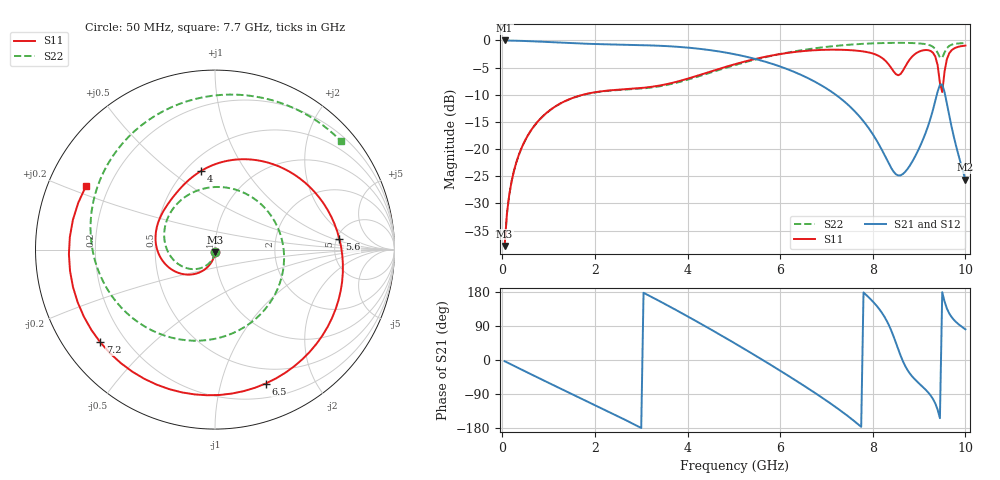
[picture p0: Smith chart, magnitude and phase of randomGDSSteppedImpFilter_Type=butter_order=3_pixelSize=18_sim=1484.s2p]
! freq	dB(S11)	phase(S11)	dB(S12)	phase(S12)
!  dB(S21)	phase(S21)	dB(S22)	phase(S22)
!S-par simulation data
#  GHz  S  DB  R 50
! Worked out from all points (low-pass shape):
!   200 points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, 50 MHz to 10 GHz, reference 50 ohm
!   highest |S21| = -0.01 dB at 50 MHz (marker M1); lowest = -25.6 dB at 10 GHz (marker M2)
!   |S21| within 3 dB of the highest: start of sweep to 5.27 GHz
!   lowest |S11| = -37.9 dB at 50 MHz (marker M3), VSWR 1.03, Z = 49.9 - j1.28 ohm
!   |S11| at or under -10 dB: start of sweep to 1.742 GHz
!   |S22| runs from -37.9 to -0.4 dB; largest |S21 - S12| = 0
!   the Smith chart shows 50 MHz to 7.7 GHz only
!   S11 on the Smith chart (normalised r, x): 50 MHz: 1.00, -0.03; 4 GHz: 0.59, +0.64; 5.6 GHz: 5.29, +1.20; 6.5 GHz: 0.34, -1.39; 7.2 GHz: 0.11, -0.35; 7.7 GHz: 0.12, +0.23
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0.05  -37.86 -91.9  -0.01 -3.1  -0.01 -3.1  -37.87 -92.8
0.2  -25.97 -100.6  -0.03 -12.3  -0.03 -12.3  -25.98 -103.9
0.5  -18.28 -116.7  -0.11 -30.4  -0.11 -30.4  -18.30 -125.0
1.75  -9.98 -176.9  -0.59 -104.2  -0.59 -104.2  -10.01 147.2
2.65  -8.99 147.9  -0.79 -157.8  -0.79 -157.8  -9.06 75.6
3.4  -8.30 123.0  -0.98 155.1  -0.98 155.1  -8.44 6.3
4  -7.05 100.3  -1.32 115.3  -1.32 115.3  -7.23 -50.7
5.05  -4.31 43.2  -2.60 41.9  -2.60 41.9  -4.48 -140.4
5.6  -3.15 4.8  -3.73 1.8  -3.73 1.8  -3.24 177.5
6.5  -1.96 -69.2  -6.53 -66.8  -6.53 -66.8  -1.75 113.8
6.7  -1.83 -88.1  -7.37 -82.7  -7.37 -82.7  -1.50 100.6
7.2  -1.70 -141.0  -10.00 -124.4  -10.00 -124.4  -1.01 69.3
7.7  -1.92 153.9  -13.87 -171.2  -13.87 -171.2  -0.67 40.8
8.05  -2.55 94.9  -17.94 147.8  -17.94 147.8  -0.52 22.5
8.35  -4.49 16.8  -22.71 91.4  -22.71 91.4  -0.46 7.8
8.6  -6.18 -109.1  -24.84 11.8  -24.84 11.8  -0.45 -3.8
8.8  -3.48 159.6  -23.05 -35.5  -23.05 -35.5  -0.47 -12.8
9.05  -1.90 96.1  -18.93 -67.7  -18.93 -67.7  -0.59 -24.1
9.3  -2.27 49.5  -12.78 -102.8  -12.78 -102.8  -1.18 -36.9
9.5  -9.50 58.6  -8.10 179.1  -8.10 179.1  -3.17 -30.8
9.65  -2.38 54.8  -13.81 123.1  -13.81 123.1  -1.01 -32.5
10  -0.95 16.1  -25.64 81.0  -25.64 81.0  -0.49 -49.0
